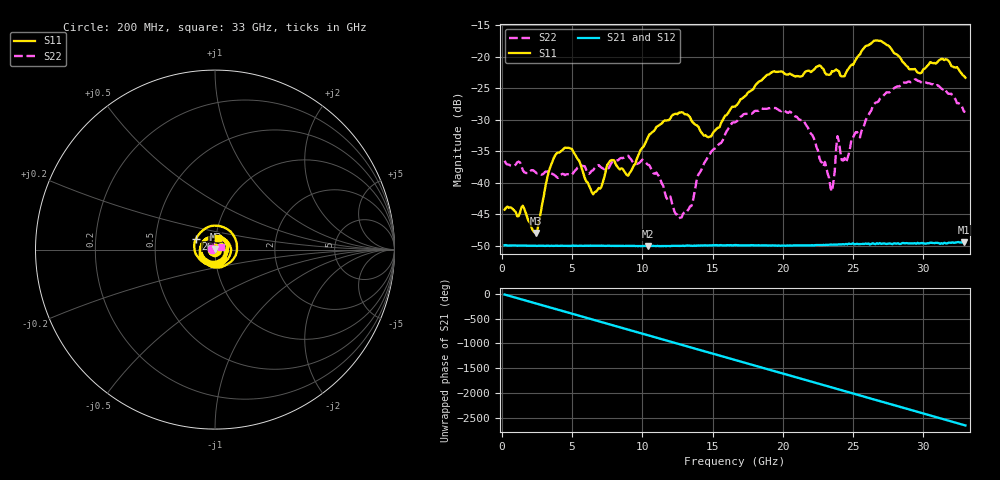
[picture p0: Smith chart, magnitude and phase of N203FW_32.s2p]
# GHZ S RI R 50
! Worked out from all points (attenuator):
!   329 points, 200 MHz to 33 GHz, reference 50 ohm
!   highest |S21| = -49.43 dB at 32.9 GHz (marker M1); lowest = -50.1 dB at 10.4 GHz (marker M2)
!   lowest |S11| = -48.0 dB at 2.4 GHz (marker M3), VSWR 1.01, Z = 50.3 + j0.305 ohm
!   |S11| at or under -10 dB: start of sweep to end of sweep
!   |S22| runs from -45.7 to -23.6 dB; largest |S21 - S12| = 8.8e-05
!   S11 on the Smith chart (normalised r, x): 200 MHz: 1.01, +0.00; 26 GHz: 0.80, +0.10; 33 GHz: 1.02, +0.14
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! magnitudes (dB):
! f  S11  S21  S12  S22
! 200 MHz  -44.3  -50.0  -49.9  -36.5
! 2.4 GHz  -48.0  -50.0  -50.0  -38.4
! 3.8 GHz  -35.7  -50.0  -50.0  -38.9
! 5.7 GHz  -37.8  -50.0  -50.0  -37.3
! 6.5 GHz  -41.9  -50.0  -50.0  -38.1
! 7.8 GHz  -36.4  -50.1  -50.0  -36.9
! 9 GHz  -38.9  -50.1  -50.1  -35.8
! 10.4 GHz  -32.8  -50.1  -50.1  -37.2
! 11.2 GHz  -30.9  -50.1  -50.1  -39.0
! 12.8 GHz  -28.8  -50.0  -50.0  -45.5
! 14.7 GHz  -32.8  -50.0  -50.0  -35.8
! 16.6 GHz  -28.0  -49.9  -49.9  -30.4
! 19.5 GHz  -22.4  -50.0  -50.0  -28.2
! 22.1 GHz  -22.3  -50.0  -49.9  -32.5
! 23.5 GHz  -22.3  -49.9  -49.8  -41.4
! 23.9 GHz  -22.2  -49.8  -49.9  -32.6
! 24.5 GHz  -22.6  -49.7  -49.7  -36.8
! 26 GHz  -18.3  -49.7  -49.7  -29.7
! 27.6 GHz  -18.4  -49.7  -49.7  -25.7
! 29.5 GHz  -22.3  -49.7  -49.6  -23.6
! 32.9 GHz  -23.1  -49.4  -49.4  -28.7
! 33 GHz  -23.4  -49.5  -49.5  -28.8
